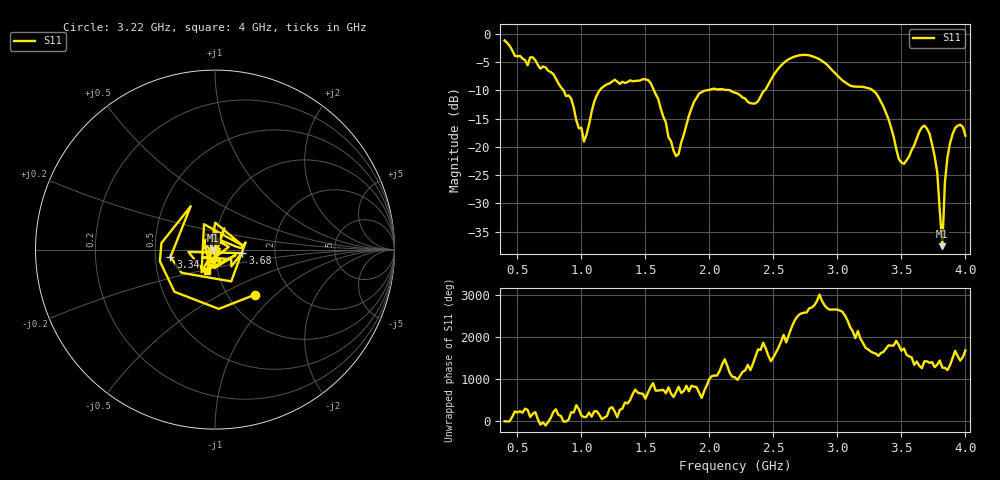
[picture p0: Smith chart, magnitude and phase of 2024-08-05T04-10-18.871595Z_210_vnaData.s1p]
!Created with skrf (http://scikit-rf.org).
# Hz S RI R 50.0
!freq ReS11 ImS11
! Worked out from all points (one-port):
!   181 points, 400 MHz to 4 GHz, reference 50 ohm
!   lowest |S11| = -37.6 dB at 3.82 GHz (marker M1), VSWR 1.03, Z = 48.8 - j0.423 ohm
!   |S11| at or under -10 dB: 861 MHz to 1.142 GHz (281.2 MHz wide, 28.1 % of centre); 1.567 GHz to 1.978 GHz (411.1 MHz wide, 23.2 % of centre); 3.276 GHz to end of sweep (the widest 3 of 4)
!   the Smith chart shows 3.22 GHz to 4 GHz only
!   S11 on the Smith chart (normalised r, x): 3.22 GHz: 1.33, -0.75; 3.34 GHz: 0.60, -0.05; 3.68 GHz: 1.36, -0.06; 4 GHz: 0.89, -0.21
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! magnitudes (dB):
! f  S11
! 400 MHz  -1.2
! 860 MHz  -9.9
! 920 MHz  -11.5
! 1.02 GHz  -19.1
! 1.14 GHz  -10.1
! 1.3 GHz  -8.9
! 1.54 GHz  -8.7
! 1.72 GHz  -20.7
! 1.76 GHz  -21.2
! 1.84 GHz  -14.5
! 1.92 GHz  -10.5
! 2.2 GHz  -10.4
! 2.36 GHz  -12.3
! 2.66 GHz  -4.1
! 2.86 GHz  -4.5
! 3.1 GHz  -9.1
! 3.22 GHz  -9.5
! 3.34 GHz  -12.0
! 3.48 GHz  -22.2
! 3.56 GHz  -21.7
! 3.68 GHz  -16.2
! 3.72 GHz  -17.7
! 3.78 GHz  -24.5
! 3.82 GHz  -37.6
! 3.84 GHz  -26.2
! 3.88 GHz  -19.4
! 3.94 GHz  -16.2
! 4 GHz  -18.0
